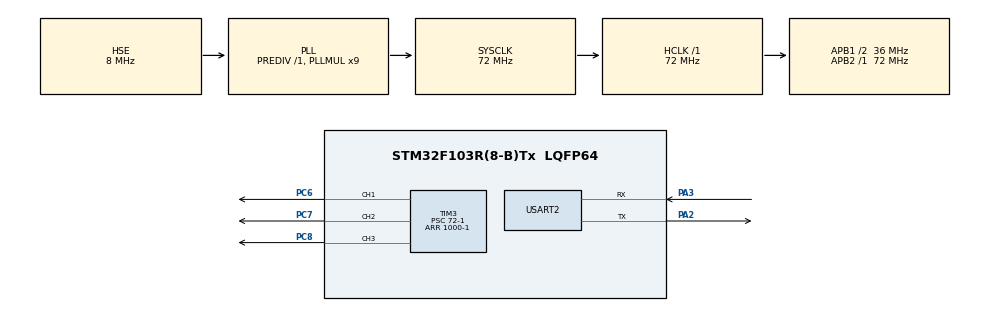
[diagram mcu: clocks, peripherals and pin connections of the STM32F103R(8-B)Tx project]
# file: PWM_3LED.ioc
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Mcu.Family=STM32F1
Mcu.Name=STM32F103R(8-B)Tx
Mcu.Package=LQFP64
NVIC.PriorityGroup=NVIC_PRIORITYGROUP_4
PA2.Mode=Asynchronous
PA2.Signal=USART2_TX
PA3.Mode=Asynchronous
PA3.Signal=USART2_RX
PC14-OSC32_IN.Mode=LSE-External-Oscillator
PC14-OSC32_IN.Signal=RCC_OSC32_IN
PC15-OSC32_OUT.Mode=LSE-External-Oscillator
PC15-OSC32_OUT.Signal=RCC_OSC32_OUT
PC6.Signal=S_TIM3_CH1
PC7.Signal=S_TIM3_CH2
PC8.Signal=S_TIM3_CH3
PD0-OSC_IN.Mode=HSE-External-Clock-Source
PD0-OSC_IN.Signal=RCC_OSC_IN
PD1-OSC_OUT.Mode=HSE-External-Clock-Source
PD1-OSC_OUT.Signal=RCC_OSC_OUT
ProjectManager.HeapSize=0x200
ProjectManager.StackSize=0x400
ProjectManager.TargetToolchain=STM32CubeIDE
RCC.AHBFreq_Value=72000000
RCC.APB1CLKDivider=RCC_HCLK_DIV2
RCC.APB1Freq_Value=36000000
RCC.APB1TimFreq_Value=72000000
RCC.APB2Freq_Value=72000000
RCC.APB2TimFreq_Value=72000000
RCC.HCLKFreq_Value=72000000
RCC.PLLMUL=RCC_PLL_MUL9
RCC.PLLSourceVirtual=RCC_PLLSOURCE_HSE
RCC.SYSCLKFreq_VALUE=72000000
RCC.SYSCLKSource=RCC_SYSCLKSOURCE_PLLCLK
RCC.USBFreq_Value=72000000
SH.S_TIM3_CH1.0=TIM3_CH1,PWM Generation1 CH1
SH.S_TIM3_CH2.0=TIM3_CH2,PWM Generation2 CH2
SH.S_TIM3_CH3.0=TIM3_CH3,PWM Generation3 CH3
TIM3.AutoReloadPreload=TIM_AUTORELOAD_PRELOAD_ENABLE
TIM3.Channel-PWM\ Generation1\ CH1=TIM_CHANNEL_1
TIM3.Channel-PWM\ Generation2\ CH2=TIM_CHANNEL_2
TIM3.Channel-PWM\ Generation3\ CH3=TIM_CHANNEL_3
TIM3.Period=1000-1
TIM3.Prescaler=72-1
USART2.VirtualMode=VM_ASYNC
VP_TIM3_VS_ClockSourceINT.Mode=Internal
board=custom

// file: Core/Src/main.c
/* USER CODE BEGIN Header */
/**
  ******************************************************************************
  * @file           : main.c
  * @brief          : Main program body
  ******************************************************************************
  * @attention
  *
  * Copyright (c) 2023 STMicroelectronics.
  * All rights reserved.
  *
  * This software is licensed under terms that can be found in the LICENSE file
  * in the root directory of this software component.
  * If no LICENSE file comes with this software, it is provided AS-IS.
  *
  ******************************************************************************
  */
/* USER CODE END Header */
#include "main.h"

/* USER CODE BEGIN Includes */
#include <stdio.h>
#include <stdlib.h>
/* USER CODE END Includes */

TIM_HandleTypeDef htim3;

UART_HandleTypeDef huart2;

/* USER CODE BEGIN PV */
uint16_t input_arr, input_ccr1,input_ccr2,input_ccr3;

/* USER CODE END PV */

void SystemClock_Config(void);
static void MX_GPIO_Init(void);
static void MX_TIM3_Init(void);
static void MX_USART2_UART_Init(void);

/* USER CODE BEGIN 0 */
int __io_putchar(int ch) {
  HAL_UART_Transmit(&huart2, (uint8_t*) &ch, 1, 1000);
  if (ch == '\n')
    HAL_UART_Transmit(&huart2, (uint8_t*) "\r", 1, 1000);
  return ch;
}
#if 0
void print123_pwm(){
	led_arr =  __HAL_TIM_GET_AUTOLOAD(&htim3;
	led_ccr1 = __HAL_TIM_GET_COMPARE(&htim3, TIM_CHANNEL_1);
	led_ccr2 = __HAL_TIM_GET_COMPARE(&htim3, TIM_CHANNEL_2);
	led_ccr3 = __HAL_TIM_GET_COMPARE(&htim3, TIM_CHANNEL_3);
	printf("%d %d %d %d",led_arr, led_ccr1, led_ccr2, led_ccr3);
}
#else 0
/* USER CODE END 0 */

int main(void)
{

  /* MCU Configuration--------------------------------------------------------*/

  /* Reset of all peripherals, Initializes the Flash interface and the Systick. */
  HAL_Init();

  /* Configure the system clock */
  SystemClock_Config();

  /* Initialize all configured peripherals */
  MX_GPIO_Init();
  MX_TIM3_Init();
  MX_USART2_UART_Init();
  /* USER CODE BEGIN 2 */
  HAL_TIM_PWM_Start(&htim3, TIM_CHANNEL_1);
  HAL_TIM_PWM_Start(&htim3, TIM_CHANNEL_2);
  HAL_TIM_PWM_Start(&htim3, TIM_CHANNEL_3);
  /* USER CODE END 2 */

  /* Infinite loop */
  while (1)
  {

    /* USER CODE BEGIN 3 */
	  input_arr = rand()%10000;
	  input_ccr1 = rand()%input_arr;
	  input_ccr2 = rand()%input_arr;
	  input_ccr3 = rand()%input_arr;
	  __HAL_TIM_SET_AUTORELOAD(&htim3, input_arr);
     __HAL_TIM_SET_COMPARE(&htim3, TIM_CHANNEL_1,input_ccr1);
     __HAL_TIM_SET_COMPARE(&htim3, TIM_CHANNEL_2,input_ccr2);
     __HAL_TIM_SET_COMPARE(&htim3, TIM_CHANNEL_3,input_ccr3);
     printf("arr : %d\n\n", input_arr);
     printf("ccr1 : %d\n\n", input_ccr1);
     printf("ccr2 : %d\n\n", input_ccr2);
     printf("ccr3 : %d\n\n", input_ccr3);

     HAL_Delay(100);
  }
  /* USER CODE END 3 */
}

void SystemClock_Config(void)
{
  RCC_OscInitTypeDef RCC_OscInitStruct = {0};
  RCC_ClkInitTypeDef RCC_ClkInitStruct = {0};

  /** Initializes the RCC Oscillators according to the specified parameters
  * in the RCC_OscInitTypeDef structure.
  */
  RCC_OscInitStruct.OscillatorType = RCC_OSCILLATORTYPE_HSE;
  RCC_OscInitStruct.HSEState = RCC_HSE_BYPASS;
  RCC_OscInitStruct.HSEPredivValue = RCC_HSE_PREDIV_DIV1;
  RCC_OscInitStruct.HSIState = RCC_HSI_ON;
  RCC_OscInitStruct.PLL.PLLState = RCC_PLL_ON;
  RCC_OscInitStruct.PLL.PLLSource = RCC_PLLSOURCE_HSE;
  RCC_OscInitStruct.PLL.PLLMUL = RCC_PLL_MUL9;
  if (HAL_RCC_OscConfig(&RCC_OscInitStruct) != HAL_OK)
  {
    Error_Handler();
  }

  /** Initializes the CPU, AHB and APB buses clocks
  */
  RCC_ClkInitStruct.ClockType = RCC_CLOCKTYPE_HCLK|RCC_CLOCKTYPE_SYSCLK
                              |RCC_CLOCKTYPE_PCLK1|RCC_CLOCKTYPE_PCLK2;
  RCC_ClkInitStruct.SYSCLKSource = RCC_SYSCLKSOURCE_PLLCLK;
  RCC_ClkInitStruct.AHBCLKDivider = RCC_SYSCLK_DIV1;
  RCC_ClkInitStruct.APB1CLKDivider = RCC_HCLK_DIV2;
  RCC_ClkInitStruct.APB2CLKDivider = RCC_HCLK_DIV1;

  if (HAL_RCC_ClockConfig(&RCC_ClkInitStruct, FLASH_LATENCY_2) != HAL_OK)
  {
    Error_Handler();
  }
}

static void MX_TIM3_Init(void)
{

  TIM_ClockConfigTypeDef sClockSourceConfig = {0};
  TIM_MasterConfigTypeDef sMasterConfig = {0};
  TIM_OC_InitTypeDef sConfigOC = {0};

  htim3.Instance = TIM3;
  htim3.Init.Prescaler = 72-1;
  htim3.Init.CounterMode = TIM_COUNTERMODE_UP;
  htim3.Init.Period = 1000-1;
  htim3.Init.ClockDivision = TIM_CLOCKDIVISION_DIV1;
  htim3.Init.AutoReloadPreload = TIM_AUTORELOAD_PRELOAD_ENABLE;
  if (HAL_TIM_Base_Init(&htim3) != HAL_OK)
  {
    Error_Handler();
  }
  sClockSourceConfig.ClockSource = TIM_CLOCKSOURCE_INTERNAL;
  if (HAL_TIM_ConfigClockSource(&htim3, &sClockSourceConfig) != HAL_OK)
  {
    Error_Handler();
  }
  if (HAL_TIM_PWM_Init(&htim3) != HAL_OK)
  {
    Error_Handler();
  }
  sMasterConfig.MasterOutputTrigger = TIM_TRGO_RESET;
  sMasterConfig.MasterSlaveMode = TIM_MASTERSLAVEMODE_DISABLE;
  if (HAL_TIMEx_MasterConfigSynchronization(&htim3, &sMasterConfig) != HAL_OK)
  {
    Error_Handler();
  }
  sConfigOC.OCMode = TIM_OCMODE_PWM1;
  sConfigOC.Pulse = 0;
  sConfigOC.OCPolarity = TIM_OCPOLARITY_HIGH;
  sConfigOC.OCFastMode = TIM_OCFAST_DISABLE;
  if (HAL_TIM_PWM_ConfigChannel(&htim3, &sConfigOC, TIM_CHANNEL_1) != HAL_OK)
  {
    Error_Handler();
  }
  if (HAL_TIM_PWM_ConfigChannel(&htim3, &sConfigOC, TIM_CHANNEL_2) != HAL_OK)
  {
    Error_Handler();
  }
  if (HAL_TIM_PWM_ConfigChannel(&htim3, &sConfigOC, TIM_CHANNEL_3) != HAL_OK)
  {
    Error_Handler();
  }
  HAL_TIM_MspPostInit(&htim3);

}

static void MX_USART2_UART_Init(void)
{

  huart2.Instance = USART2;
  huart2.Init.BaudRate = 115200;
  huart2.Init.WordLength = UART_WORDLENGTH_8B;
  huart2.Init.StopBits = UART_STOPBITS_1;
  huart2.Init.Parity = UART_PARITY_NONE;
  huart2.Init.Mode = UART_MODE_TX_RX;
  huart2.Init.HwFlowCtl = UART_HWCONTROL_NONE;
  huart2.Init.OverSampling = UART_OVERSAMPLING_16;
  if (HAL_UART_Init(&huart2) != HAL_OK)
  {
    Error_Handler();
  }

}

static void MX_GPIO_Init(void)
{

  /* GPIO Ports Clock Enable */
  __HAL_RCC_GPIOC_CLK_ENABLE();
  __HAL_RCC_GPIOD_CLK_ENABLE();
  __HAL_RCC_GPIOA_CLK_ENABLE();

}

void Error_Handler(void)
{
  __disable_irq();
  while (1)
  {
  }
}
